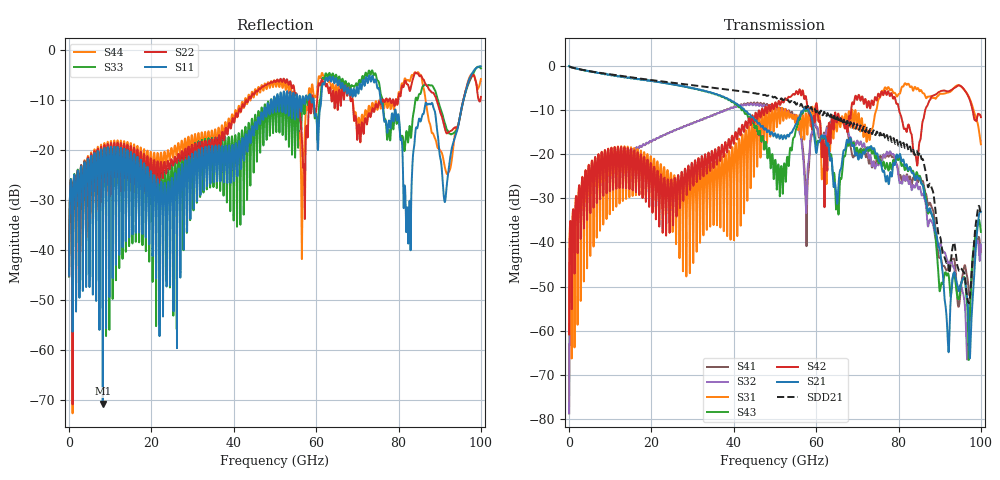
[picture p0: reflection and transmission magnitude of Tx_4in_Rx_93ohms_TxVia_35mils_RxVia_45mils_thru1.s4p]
! Info: Touchstone file created by Circ.  Input file=Tx_4in_Rx_93ohms_TxVia_35mils_RxVia_45mils.circ
# Hz S RI R 50
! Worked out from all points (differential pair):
!   10000 points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, 10 MHz to 100 GHz, reference 50 ohm
!   strongest paths, dB at 10 MHz, 25.01 GHz, 50.01 GHz, 75.01 GHz, 100 GHz:
!     S21: 0.0, -4.1, -15.3, -20.5, -33.1
!     S42: -60.8, -27.6, -8.4, -6.4, -11.6
!     S43: 0.0, -4.2, -21.5, -21.6, -37.6
!     S31: -60.8, -29.9, -9.7, -8.1, -17.8
!     S32: -78.7, -14.9, -9.9, -22.5, -40.5
!     S41: -78.7, -14.9, -9.6, -21.4, -42.1
!   taken as a pair (ports 1,3 in; 2,4 out), SDD21 dB: 0.0, -3.8, -7.0, -15.6, -33.6
!   lowest |S11| = -70.7 dB at 8.18 GHz (marker M1), VSWR 1.00, Z = 50 - j0.0233 ohm
!   |S11| at or under -10 dB: start of sweep to 48.97 GHz; 59.4 GHz to 61.21 GHz (1.803 GHz wide, 2.99 % of centre); 75.66 GHz to 95.75 GHz (20.1 GHz wide, 23.4 % of centre) (the widest 3 of 15)
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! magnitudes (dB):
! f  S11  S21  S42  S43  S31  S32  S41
! 10 MHz  -45.1  0.0  -60.8  0.0  -60.8  -78.7  -78.7
! 1.67 GHz  -47.7  -0.6  -29.6  -0.6  -29.7  -36.1  -36.1
! 8.18 GHz  -70.7  -1.7  -24.4  -1.7  -25.7  -23.7  -23.7
! 80.06 GHz  -13.2  -20.6  -9.7  -21.1  -6.3  -25.5  -24.9
! 92.03 GHz  -24.8  -63.4  -5.8  -47.0  -6.0  -44.6  -45.9
! 96.7 GHz  -7.0  -52.7  -6.4  -54.5  -6.4  -66.6  -47.9
! 100 GHz  -3.2  -33.1  -11.6  -37.6  -17.8  -40.5  -42.1
